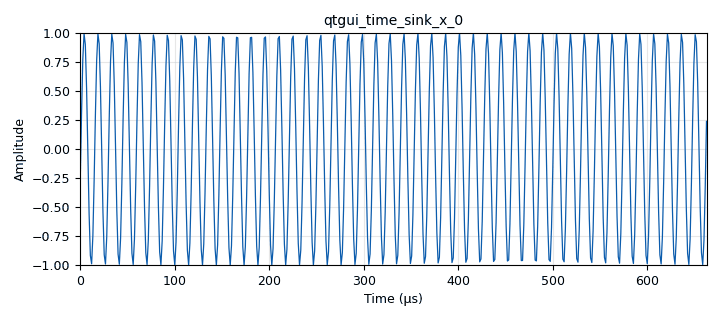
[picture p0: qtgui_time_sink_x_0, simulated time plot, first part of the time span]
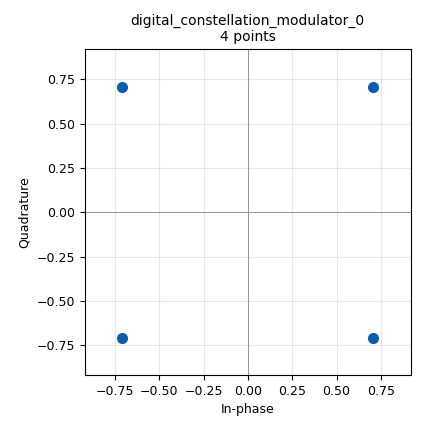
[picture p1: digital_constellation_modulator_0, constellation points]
<?xml version='1.0' encoding='utf-8'?>
<?grc format='1' created='3.7.13'?>
<flow_graph>
<block>
<key>options</key>
<param><key>id</key><value>DQPSK_TX</value></param>
<param><key>author</key><value>Hervé BOEGLEN et Laurent MURA</value></param>
<param><key>category</key><value>Custom</value></param>
<param><key>generate_options</key><value>qt_gui</value></param>
<param><key>title</key><value>Emmetteur DQPSK avec Adalm Pluto</value></param>
</block>
<block>
<key>variable_qtgui_range</key>
<param><key>id</key><value>decalage</value></param>
<param><key>value</key><value>0</value></param>
<param><key>gui_hint</key><value>0,1,1,1</value></param>
<param><key>label</key><value>Composante continue</value></param>
<param><key>orient</key><value>Qt.Horizontal</value></param>
<param><key>start</key><value>-5</value></param>
<param><key>step</key><value>0.1</value></param>
<param><key>stop</key><value>5</value></param>
</block>
<block>
<key>variable</key>
<param><key>id</key><value>ebw</value></param>
<param><key>value</key><value>0.35</value></param>
</block>
<block>
<key>variable_qtgui_range</key>
<param><key>id</key><value>freq_sin</value></param>
<param><key>value</key><value>4000</value></param>
<param><key>gui_hint</key><value>0,0,1,1</value></param>
<param><key>label</key><value>freq_sin</value></param>
<param><key>orient</key><value>Qt.Horizontal</value></param>
<param><key>start</key><value>10</value></param>
<param><key>step</key><value>10</value></param>
<param><key>stop</key><value>5000</value></param>
</block>
<block>
<key>variable_constellation_rect</key>
<param><key>id</key><value>qpsk</value></param>
<param><key>const_points</key><value>[0.707+0.707j, -0.707+0.707j, -0.707-0.707j, 0.707-0.707j]</value></param>
<param><key>imag_sect</key><value>2</value></param>
<param><key>real_sect</key><value>2</value></param>
<param><key>rot_sym</key><value>4</value></param>
<param><key>sym_map</key><value>[0, 1, 2, 3]</value></param>
<param><key>w_imag_sect</key><value>1</value></param>
<param><key>w_real_sect</key><value>1</value></param>
</block>
<block>
<key>variable</key>
<param><key>id</key><value>samp_rate</value></param>
<param><key>value</key><value>250e3*3</value></param>
</block>
<block>
<key>variable</key>
<param><key>id</key><value>snd_rate</value></param>
<param><key>value</key><value>44.1E3</value></param>
</block>
<block>
<key>variable</key>
<param><key>id</key><value>sps</value></param>
<param><key>value</key><value>4</value></param>
</block>
<block>
<key>analog_sig_source_x</key>
<param><key>id</key><value>analog_sig_source_x_0</value></param>
<param><key>amp</key><value>1</value></param>
<param><key>freq</key><value>freq_sin</value></param>
<param><key>offset</key><value>0</value></param>
<param><key>type</key><value>float</value></param>
<param><key>samp_rate</key><value>snd_rate</value></param>
<param><key>waveform</key><value>analog.GR_COS_WAVE</value></param>
</block>
<block>
<key>blks2_packet_encoder</key>
<param><key>id</key><value>blks2_packet_encoder_0_0</value></param>
<param><key>access_code</key><value></value></param>
<param><key>bits_per_symbol</key><value>2</value></param>
<param><key>type</key><value>float</value></param>
<param><key>pad_for_usrp</key><value>True</value></param>
<param><key>payload_length</key><value>0</value></param>
<param><key>preamble</key><value></value></param>
<param><key>samples_per_symbol</key><value>sps</value></param>
</block>
<block>
<key>blocks_add_const_vxx</key>
<param><key>id</key><value>blocks_add_const_vxx_0</value></param>
<param><key>const</key><value>decalage</value></param>
<param><key>_enabled</key><value>0</value></param>
<param><key>type</key><value>float</value></param>
</block>
<block>
<key>blocks_multiply_const_vxx</key>
<param><key>id</key><value>blocks_multiply_const_vxx_0</value></param>
<param><key>const</key><value>0.5+0j</value></param>
<param><key>type</key><value>complex</value></param>
</block>
<block>
<key>blocks_wavfile_source</key>
<param><key>id</key><value>blocks_wavfile_source_0</value></param>
<param><key>_enabled</key><value>0</value></param>
<param><key>file</key><value>/home/laurent/Documents/Fonctionne/son1_8b_441_stereo.wav</value></param>
<param><key>repeat</key><value>True</value></param>
</block>
<block>
<key>digital_constellation_modulator</key>
<param><key>id</key><value>digital_constellation_modulator_0</value></param>
<param><key>constellation</key><value>qpsk</value></param>
<param><key>differential</key><value>True</value></param>
<param><key>excess_bw</key><value>ebw</value></param>
<param><key>samples_per_symbol</key><value>sps</value></param>
</block>
<block>
<key>pluto_sink</key>
<param><key>id</key><value>pluto_sink_0</value></param>
<param><key>attenuation</key><value>0</value></param>
<param><key>buffer_size</key><value>0x8000</value></param>
<param><key>cyclic</key><value>False</value></param>
<param><key>auto_filter</key><value>True</value></param>
<param><key>filter</key><value></value></param>
<param><key>uri</key><value>192.168.2.1</value></param>
<param><key>frequency</key><value>900000000</value></param>
<param><key>bandwidth</key><value>2000000</value></param>
<param><key>samplerate</key><value>samp_rate</value></param>
</block>
<block>
<key>qtgui_const_sink_x</key>
<param><key>id</key><value>qtgui_const_sink_x_0</value></param>
<param><key>_enabled</key><value>0</value></param>
<param><key>gui_hint</key><value>2,1,1,1</value></param>
<param><key>grid</key><value>True</value></param>
<param><key>size</key><value>1024</value></param>
<param><key>type</key><value>complex</value></param>
</block>
<block>
<key>qtgui_freq_sink_x</key>
<param><key>id</key><value>qtgui_freq_sink_x_0</value></param>
<param><key>bw</key><value>samp_rate</value></param>
<param><key>fc</key><value>0</value></param>
<param><key>_enabled</key><value>0</value></param>
<param><key>fftsize</key><value>1024</value></param>
<param><key>gui_hint</key><value>2,0,1,1</value></param>
<param><key>grid</key><value>True</value></param>
<param><key>showports</key><value>True</value></param>
<param><key>type</key><value>complex</value></param>
<param><key>wintype</key><value>firdes.WIN_BLACKMAN_hARRIS</value></param>
</block>
<block>
<key>qtgui_time_sink_x</key>
<param><key>id</key><value>qtgui_time_sink_x_0</value></param>
<param><key>gui_hint</key><value>1,0,1,2</value></param>
<param><key>grid</key><value>True</value></param>
<param><key>color1</key><value>"blue"</value></param>
<param><key>label1</key><value></value></param>
<param><key>size</key><value>1024</value></param>
<param><key>srate</key><value>samp_rate</value></param>
<param><key>type</key><value>float</value></param>
</block>
<block>
<key>rational_resampler_xxx</key>
<param><key>id</key><value>rational_resampler_xxx_0</value></param>
<param><key>decim</key><value>int(snd_rate*4/100)</value></param>
<param><key>interp</key><value>int(samp_rate/100)</value></param>
<param><key>taps</key><value></value></param>
<param><key>type</key><value>ccc</value></param>
</block>
<connection><source_block_id>analog_sig_source_x_0</source_block_id><sink_block_id>blks2_packet_encoder_0_0</sink_block_id><source_key>0</source_key><sink_key>0</sink_key></connection>
<connection><source_block_id>analog_sig_source_x_0</source_block_id><sink_block_id>qtgui_time_sink_x_0</sink_block_id><source_key>0</source_key><sink_key>0</sink_key></connection>
<connection><source_block_id>blks2_packet_encoder_0_0</source_block_id><sink_block_id>digital_constellation_modulator_0</sink_block_id><source_key>0</source_key><sink_key>0</sink_key></connection>
<connection><source_block_id>blocks_add_const_vxx_0</source_block_id><sink_block_id>blks2_packet_encoder_0_0</sink_block_id><source_key>0</source_key><sink_key>0</sink_key></connection>
<connection><source_block_id>blocks_add_const_vxx_0</source_block_id><sink_block_id>qtgui_time_sink_x_0</sink_block_id><source_key>0</source_key><sink_key>0</sink_key></connection>
<connection><source_block_id>blocks_multiply_const_vxx_0</source_block_id><sink_block_id>pluto_sink_0</sink_block_id><source_key>0</source_key><sink_key>0</sink_key></connection>
<connection><source_block_id>blocks_multiply_const_vxx_0</source_block_id><sink_block_id>qtgui_const_sink_x_0</sink_block_id><source_key>0</source_key><sink_key>0</sink_key></connection>
<connection><source_block_id>blocks_multiply_const_vxx_0</source_block_id><sink_block_id>qtgui_freq_sink_x_0</sink_block_id><source_key>0</source_key><sink_key>0</sink_key></connection>
<connection><source_block_id>blocks_wavfile_source_0</source_block_id><sink_block_id>blocks_add_const_vxx_0</sink_block_id><source_key>0</source_key><sink_key>0</sink_key></connection>
<connection><source_block_id>digital_constellation_modulator_0</source_block_id><sink_block_id>rational_resampler_xxx_0</sink_block_id><source_key>0</source_key><sink_key>0</sink_key></connection>
<connection><source_block_id>rational_resampler_xxx_0</source_block_id><sink_block_id>blocks_multiply_const_vxx_0</sink_block_id><source_key>0</source_key><sink_key>0</sink_key></connection>
</flow_graph>
